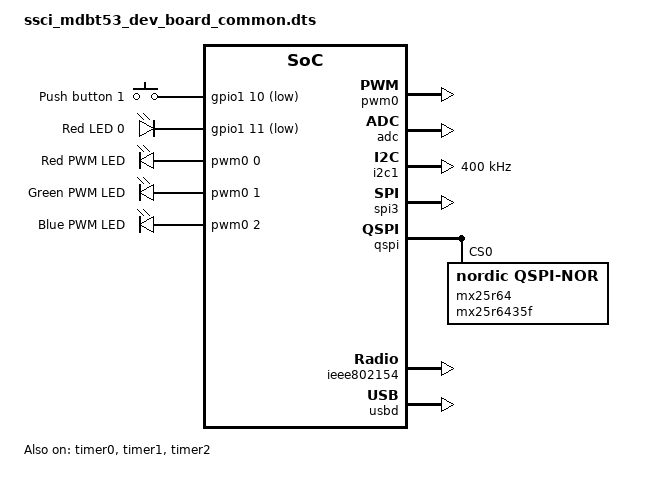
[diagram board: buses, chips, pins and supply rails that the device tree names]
/*
 * Copyright (c) 2021 Nordic Semiconductor ASA
 *
 * SPDX-License-Identifier: Apache-2.0
 */
#include "ssci_mdbt53_dev_board_common-pinctrl.dtsi"

/ {
	chosen {
		zephyr,console = &cdc_acm_uart;
		zephyr,shell-uart = &cdc_acm_uart;
		zephyr,uart-mcumgr = &cdc_acm_uart;
		zephyr,bt-mon-uart = &cdc_acm_uart;
		zephyr,bt-c2h-uart = &cdc_acm_uart;
		zephyr,bt-hci-rpmsg-ipc = &ipc0;
		nordic,802154-spinel-ipc = &ipc0;
		zephyr,ieee802154 = &ieee802154;
		nordic,pm-ext-flash = &mx25r64;
	};

	buttons {
		compatible = "gpio-keys";
		button0: button_0 {
			gpios = <&gpio1 10 (GPIO_ACTIVE_LOW)>;
			label = "Push button 1";
		};
	};

	leds {
		compatible = "gpio-leds";
		led0: led_0 {
			gpios = <&gpio1 11 GPIO_ACTIVE_LOW>;
			label = "Red LED 0";
		};
	};

	pwmleds {
		compatible = "pwm-leds";
		red_led_pwm: led_pwm_0 {
			pwms = <&pwm0 0 PWM_MSEC(20) PWM_POLARITY_NORMAL>;
			label = "Red PWM LED";
		};

		green_led_pwm: led_pwm_1 {
			pwms = <&pwm0 1 PWM_MSEC(20) PWM_POLARITY_NORMAL>;
			label = "Green PWM LED";
		};

		blue_led_pwm: led_pwm_2 {
			pwms = <&pwm0 2 PWM_MSEC(20) PWM_POLARITY_NORMAL>;
			label = "Blue PWM LED";
		};
	};

	aliases {
		sw0 = &button0;
		led0 = &led0;
		pwm-led0 = &red_led_pwm;
		watchdog0 = &wdt0;
		mcuboot-button0 = &button0;
		mcuboot-led0 = &led0;
	};
};

/* RGB LED control */
&pwm0 {
	status = "okay";
	pinctrl-0 = <&pwm0_default>;
	pinctrl-1 = <&pwm0_sleep>;
	pinctrl-names = "default", "sleep";
};

&adc {
	status = "okay";
};

&gpiote {
	status = "okay";
};

&gpio0 {
	status = "okay";
};

&gpio1 {
	status = "okay";
};

&i2c1 {
	compatible = "nordic,nrf-twim";
	status = "okay";
	clock-frequency = <I2C_BITRATE_FAST>;
	pinctrl-0 = <&i2c1_default>;
	pinctrl-1 = <&i2c1_sleep>;
	pinctrl-names = "default", "sleep";
};

&spi3 {
	compatible = "nordic,nrf-spim";
	status = "okay";
	pinctrl-0 = <&spi3_default>;
	pinctrl-1 = <&spi3_sleep>;
	pinctrl-names = "default", "sleep";
};

/* UART0 GPIOs can be configured for other use-cases */
&uart0 {
	/* Disabled by default */
	current-speed = <115200>;
	status = "disabled";
	pinctrl-0 = <&uart0_default>;
	pinctrl-1 = <&uart0_sleep>;
	pinctrl-names = "default", "sleep";
};

&qspi {
	status = "okay";
	pinctrl-0 = <&qspi_default>;
	pinctrl-1 = <&qspi_sleep>;
	pinctrl-names = "default", "sleep";
	/* not implemented */
	mx25r64: mx25r6435f@0 {
		compatible = "nordic,qspi-nor";
		reg = <0>;
		/* MX25R64 supports only pp and pp4io */
		/* Thingy:53 supports only pp and pp2o options */
		writeoc = "pp";
		/* MX25R64 supports all readoc options */
		/* Thingy:53 supports only fastread and read2io options */
		readoc = "read2io";
		sck-frequency = <8000000>;
		jedec-id = [c2 28 17];
		sfdp-bfp = [
			e5 20 f1 ff  ff ff ff 03  44 eb 08 6b  08 3b 04 bb
			ee ff ff ff  ff ff 00 ff  ff ff 00 ff  0c 20 0f 52
			10 d8 00 ff  23 72 f5 00  82 ed 04 cc  44 83 68 44
			30 b0 30 b0  f7 c4 d5 5c  00 be 29 ff  f0 d0 ff ff
		];
		size = <67108864>;
		has-dpd;
		t-enter-dpd = <10000>;
		t-exit-dpd = <35000>;
	};
};

&timer0 {
	status = "okay";
};

&timer1 {
	status = "okay";
};

&timer2 {
	status = "okay";
};

&flash0 {
	partitions {
		compatible = "fixed-partitions";
		#address-cells = <1>;
		#size-cells = <1>;

		boot_partition: partition@0 {
			label = "mcuboot";
			reg = <0x00000000 0x00010000>;
		};
		slot0_partition: partition@10000 {
			label = "image-0";
		};
		slot0_ns_partition: partition@50000 {
			label = "image-0-nonsecure";
		};
		slot1_partition: partition@80000 {
			label = "image-1";
		};
		slot1_ns_partition: partition@c0000 {
			label = "image-1-nonsecure";
		};
		scratch_partition: partition@f0000 {
			label = "image-scratch";
			reg = <0x000f0000 0xa000>;
		};
		storage_partition: partition@fa000 {
			label = "storage";
			reg = <0x000fa000 0x00006000>;
		};
	};
};

&ieee802154 {
	status = "okay";
};

zephyr_udc0: &usbd {
	compatible = "nordic,nrf-usbd";
	status = "okay";

	cdc_acm_uart: cdc_acm_uart {
		compatible = "zephyr,cdc-acm-uart";
	};
};

/ {

	reserved-memory {
		#address-cells = <1>;
		#size-cells = <1>;
		ranges;

		sram0_image: image@20000000 {
			/* Zephyr image(s) memory */
		};

		sram0_s: image_s@20000000 {
			/* Secure image memory */
		};

		sram0_ns: image_ns@20040000 {
			/* Non-Secure image memory */
		};
	};
};

/* Include partition configuration file */
#include "ssci_mdbt53_dev_board_partition_conf.dts"
